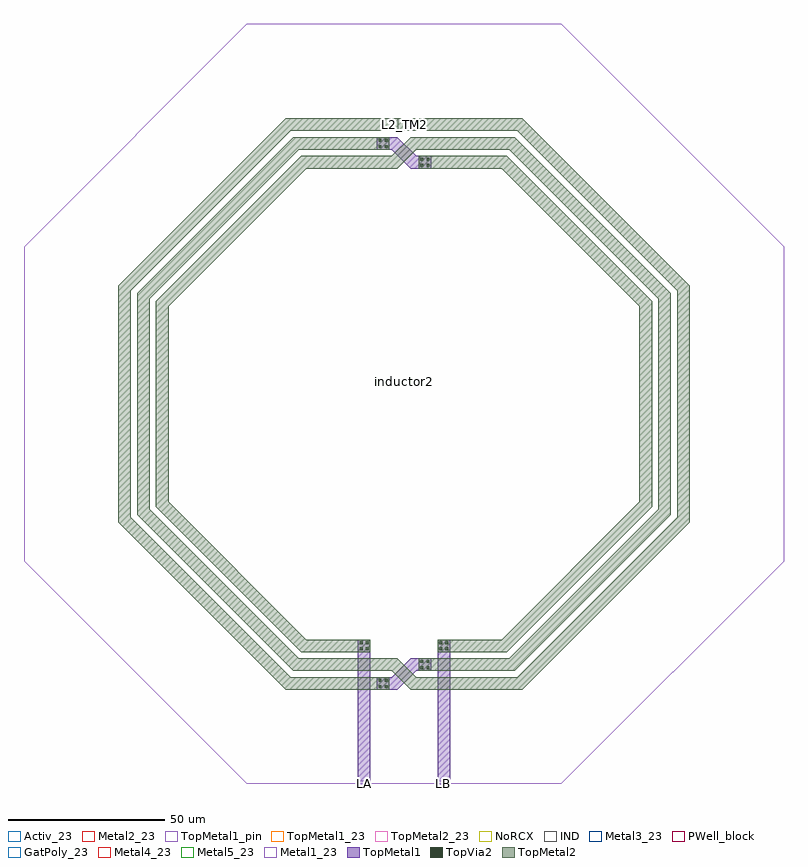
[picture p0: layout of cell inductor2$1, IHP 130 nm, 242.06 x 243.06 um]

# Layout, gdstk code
import gdstk
lib = gdstk.Library(unit=1e-6, precision=1e-09)
def R(c, l, rs):  # rectangles x0, y0, x1, y1
    for r in rs: c.add(gdstk.rectangle(r[:2], r[2:], *l))
def P(c, l, *ps):  # polygons
    for p in ps: c.add(gdstk.Polygon(p, *l))
Activ_23 = (1, 23)
GatPoly_23 = (5, 23)
Metal1_23 = (8, 23)
Metal2_23 = (10, 23)
IND = (27, 0)
Metal3_23 = (30, 23)
PWell_block = (46, 21)
Metal4_23 = (50, 23)
Metal5_23 = (67, 23)
TopMetal1 = (126, 0)
TopMetal1_pin = (126, 2)
TopMetal1_23 = (126, 23)
TopVia2 = (133, 0)
TopMetal2 = (134, 0)
TopMetal2_23 = (134, 23)
NoRCX = (148, 0)

inductor2_1 = lib.new_cell('inductor2$1')
P(inductor2_1, Activ_23, [(-50.13,0),(-121.03,70.9),(-121.03,171.16),(-50.13,242.06),(50.13,242.06),(121.03,171.16),(121.03,70.9),(50.13,0)])
P(inductor2_1, GatPoly_23, [(-50.13,0),(-121.03,70.9),(-121.03,171.16),(-50.13,242.06),(50.13,242.06),(121.03,171.16),(121.03,70.9),(50.13,0)])
P(inductor2_1, Metal1_23, [(-50.13,0),(-121.03,70.9),(-121.03,171.16),(-50.13,242.06),(50.13,242.06),(121.03,171.16),(121.03,70.9),(50.13,0)])
P(inductor2_1, Metal2_23, [(-50.13,0),(-121.03,70.9),(-121.03,171.16),(-50.13,242.06),(50.13,242.06),(121.03,171.16),(121.03,70.9),(50.13,0)])
R(inductor2_1, IND, [(-2.01,208.03,2.01,212.05)])
P(inductor2_1, Metal3_23, [(-50.13,0),(-121.03,70.9),(-121.03,171.16),(-50.13,242.06),(50.13,242.06),(121.03,171.16),(121.03,70.9),(50.13,0)])
P(inductor2_1, PWell_block, [(-50.13,0),(-121.03,70.9),(-121.03,171.16),(-50.13,242.06),(50.13,242.06),(121.03,171.16),(121.03,70.9),(50.13,0)])
P(inductor2_1, Metal4_23, [(-50.13,0),(-121.03,70.9),(-121.03,171.16),(-50.13,242.06),(50.13,242.06),(121.03,171.16),(121.03,70.9),(50.13,0)])
P(inductor2_1, Metal5_23, [(-50.13,0),(-121.03,70.9),(-121.03,171.16),(-50.13,242.06),(50.13,242.06),(121.03,171.16),(121.03,70.9),(50.13,0)])
P(inductor2_1, TopMetal1, [(2.195,196),(-3.825,202.02),(-8.67,202.02),(-8.67,206.02),(-2.195,206.02),(3.825,200),(8.67,200),(8.67,196)],
  [(-8.67,30),(-8.67,34),(-3.835,34),(2.165,40),(8.68,40),(8.68,36),(3.825,36),(-2.175,30)])
R(inductor2_1, TopMetal1_pin, [(-14.67,-1,-10.67,1), (10.67,-1,14.67,1)])
P(inductor2_1, TopMetal1_23, [(-50.13,0),(-121.03,70.9),(-121.03,171.16),(-50.13,242.06),(50.13,242.06),(121.03,171.16),(121.03,70.9),(50.13,0)])
R(inductor2_1, TopVia2, [(-8.1,30.57,-7.2,31.47), (-6.14,30.57,-5.24,31.47), (-8.1,32.53,-7.2,33.43), (-6.14,32.53,-5.24,33.43), (5.25,36.57,6.15,37.47), (7.21,36.57,8.11,37.47), (5.25,38.53,6.15,39.43), (7.21,38.53,8.11,39.43), (-14.1,42.57,-13.2,43.47), (-12.14,42.57,-11.24,43.47), (11.24,42.57,12.14,43.47), (13.2,42.57,14.1,43.47), (-14.1,44.53,-13.2,45.43), (-12.14,44.53,-11.24,45.43), (11.24,44.53,12.14,45.43), (13.2,44.53,14.1,45.43), (5.24,196.57,6.14,197.47), (7.2,196.57,8.1,197.47), (5.24,198.53,6.14,199.43), (7.2,198.53,8.1,199.43), (-8.1,202.57,-7.2,203.47), (-6.14,202.57,-5.24,203.47), (-8.1,204.53,-7.2,205.43), (-6.14,204.53,-5.24,205.43)])
R(inductor2_1, TopMetal2, [(-4.67,208.04,4.67,212.04)])
P(inductor2_1, TopMetal2, [(10.67,42),(10.67,46),(31.065,46),(75,89.935),(75,152.065),(31.065,196),(4.67,196),(4.67,200),(32.73,200),(79,153.73),(79,88.27),(32.73,42)],
  [(-32.73,42),(-79,88.27),(-79,153.73),(-32.73,200),(-4.67,200),(-4.67,196),(-31.065,196),(-75,152.065),(-75,89.935),(-31.065,46),(-10.67,46),(-10.67,42)],
  [(-4.67,196),(-4.67,200),(-3.825,200),(2.195,206.02),(4.67,206.02),(4.67,202.02),(3.855,202.02),(-2.165,196)],
  [(4.67,36),(4.67,40),(33.555,40),(81.01,87.455),(81.01,154.565),(33.555,202.02),(4.67,202.02),(4.67,206.02),(35.22,206.02),(85.01,156.23),(85.01,85.79),(35.22,36)],
  [(-35.22,36),(-85.01,85.79),(-85.01,156.23),(-35.22,206.02),(-4.67,206.02),(-4.67,202.02),(-33.555,202.02),(-81.01,154.565),(-81.01,87.455),(-33.555,40),(-4.67,40),(-4.67,36)],
  [(4.67,30),(4.67,34),(36.04,34),(87.02,84.98),(87.02,157.06),(36.04,208.04),(4.67,208.04),(4.67,212.04),(37.705,212.04),(91.02,158.725),(91.02,83.315),(37.705,30)],
  [(-37.705,30),(-91.02,83.315),(-91.02,158.725),(-37.705,212.04),(-4.67,212.04),(-4.67,208.04),(-36.04,208.04),(-87.02,157.06),(-87.02,84.98),(-36.04,34),(-4.67,34),(-4.67,30)],
  [(2.175,30),(-3.825,36),(-4.67,36),(-4.67,40),(-2.165,40),(3.835,34),(4.67,34),(4.67,30)])
P(inductor2_1, TopMetal2_23, [(-50.13,0),(-121.03,70.9),(-121.03,171.16),(-50.13,242.06),(50.13,242.06),(121.03,171.16),(121.03,70.9),(50.13,0)])
P(inductor2_1, NoRCX, [(-50.13,0),(-121.03,70.9),(-121.03,171.16),(-50.13,242.06),(50.13,242.06),(121.03,171.16),(121.03,70.9),(50.13,0)])
inductor2_1.add(gdstk.FlexPath([(12.67,-1),(12.67,46)], 4, ends="flush", simple_path=True, layer=126, datatype=0))  # TopMetal1
inductor2_1.add(gdstk.FlexPath([(-12.67,-1),(-12.67,46)], 4, ends="flush", simple_path=True, layer=126, datatype=0))  # TopMetal1
inductor2_1.add(gdstk.Label('L2_TM2', (0,210.04), layer=63, texttype=0))
inductor2_1.add(gdstk.Label('l=3n', (0,211.373), layer=63, texttype=0))
inductor2_1.add(gdstk.Label('r=1m', (0,208.707), layer=63, texttype=0))
inductor2_1.add(gdstk.Label('LB', (12.67,0), layer=63, texttype=0))
inductor2_1.add(gdstk.Label('LA', (-12.67,0), layer=63, texttype=0))
inductor2_1.add(gdstk.Label('inductor2', (0,128.31), layer=63, texttype=0))

lib.write_gds('inductor2_1.gds')
